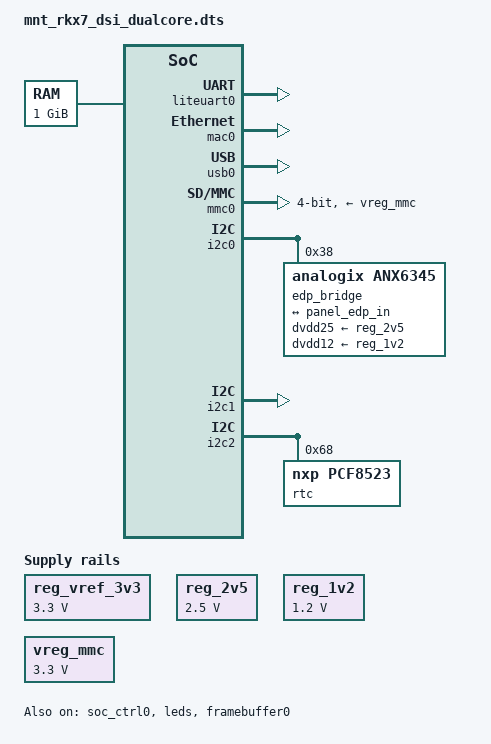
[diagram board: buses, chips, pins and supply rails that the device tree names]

/dts-v1/;

/ {

	#address-cells = <1>;
	#size-cells		 = <1>;

	reg_vref_3v3: regulator-vref-3v3 {
		compatible = "regulator-fixed";
		regulator-name = "vref-3v3";
		regulator-min-microvolt = <3300000>;
		regulator-max-microvolt = <3300000>;
		regulator-always-on;
		status = "okay";
	};

	reg_2v5: regulator-2v5 {
		compatible = "regulator-fixed";
		regulator-name = "reg-2v5";
		regulator-min-microvolt = <2500000>;
		regulator-max-microvolt = <2500000>;
		regulator-always-on;
		status = "okay";
	};

	reg_1v2: regulator-1v2 {
		compatible = "regulator-fixed";
		regulator-name = "reg1v2";
		regulator-min-microvolt = <1200000>;
		regulator-max-microvolt = <1200000>;
		regulator-always-on;
		status = "okay";
	};

	panel {
		status = "disabled";
		compatible = "innolux,n125hce-gn1", "edp-panel", "simple-panel";
		power = <&reg_vref_3v3>;
		no-hpd;

		ports {
			#address-cells = <1>;
			#size-cells = <0>;

			port@0 {
				reg = <0>;

				panel_edp_in: endpoint {
					remote-endpoint = <&edp_bridge_out>;
				};
			};
		};
	};

	chosen {
		bootargs = "console=tty0 earlycon=liteuart,0xf0001000 rootwait root=/dev/mmcblk0p2"; // console=liteuart0
		linux,initrd-start = <0x41000000>;
		linux,initrd-end	 = <0x43800000>;
	};

	cpus {
		#address-cells = <1>;
		#size-cells		 = <0>;
		timebase-frequency = <100000000>;

		CPU0: cpu@0 {
			device_type = "cpu";
			compatible = "riscv";
			riscv,isa = "rv32i2p0_ma";
			mmu-type = "riscv,sv32";
			reg = <0>;
			clock-frequency = <100000000>;
			status = "okay";

			d-cache-size = <8192>;
			d-cache-sets = <2>;
			d-cache-block-size = <64>;

			i-cache-size = <8192>;
			i-cache-sets = <2>;
			i-cache-block-size = <64>;


			d-tlb-size = <4>;
			d-tlb-sets = <4>;

			i-tlb-size = <4>;
			i-tlb-sets = <4>;

			L0: interrupt-controller {
				#interrupt-cells = <0x00000001>;
				interrupt-controller;
				compatible = "riscv,cpu-intc";
			};
		};

		CPU1: cpu@1 {
			device_type = "cpu";
			compatible = "riscv";
			riscv,isa = "rv32i2p0_ma";
			mmu-type = "riscv,sv32";
			reg = <1>;
			clock-frequency = <100000000>;
			status = "okay";

			d-cache-size = <8192>;
			d-cache-sets = <2>;
			d-cache-block-size = <64>;

			i-cache-size = <8192>;
			i-cache-sets = <2>;
			i-cache-block-size = <64>;


			d-tlb-size = <4>;
			d-tlb-sets = <4>;

			i-tlb-size = <4>;
			i-tlb-sets = <4>;

			L1: interrupt-controller {
				#interrupt-cells = <0x00000001>;
				interrupt-controller;
				compatible = "riscv,cpu-intc";
			};
		};


		cpu-map {
			cluster0 {
				core0 {
					cpu = <&CPU0>;
				};
				core1 {
					cpu = <&CPU1>;
				};
			};
		};
	};

	memory@40000000 {
		device_type = "memory";
		reg = <0x40000000 0x40000000>;
	};

	reserved-memory {
		#address-cells = <1>;
		#size-cells		 = <1>;
		ranges;

		opensbi@40f00000 {
			reg = <0x40f00000 0x80000>;
		};

		framebuffer@7f000000 {
			reg = <0x7f000000 0x7e9000>;
		};
	};

	clocks {
		sys_clk: litex_sys_clk {
			#clock-cells = <0>;
			compatible = "fixed-clock";
			clock-frequency = <100000000>;
		};
	};

	vreg_mmc: vreg_mmc {
		compatible = "regulator-fixed";
		regulator-name = "vreg_mmc";
		regulator-min-microvolt = <3300000>;
		regulator-max-microvolt = <3300000>;
		regulator-always-on;
	};

	soc {
		#address-cells = <1>;
		#size-cells		 = <1>;
		compatible = "simple-bus";
		interrupt-parent = <&intc0>;
		ranges;

		soc_ctrl0: soc_controller@f0000800 {
			compatible = "litex,soc-controller";
			reg = <0xf0000800 0xc>;
			status = "okay";
		};

		intc0: interrupt-controller@f0c00000 {
			compatible = "sifive,fu540-c000-plic", "sifive,plic-1.0.0";
			reg = <0xf0c00000 0x400000>;
			#address-cells = <0>;
			#interrupt-cells = <1>;
			interrupt-controller;
			interrupts-extended = <
			&L0 11 &L0 9
			&L1 11 &L1 9>;
			riscv,ndev = <32>;
		};

		liteuart0: serial@f0001000 {
			compatible = "litex,liteuart";
			reg = <0xf0001000 0x100>;
			interrupts = <0>;
			status = "okay";
		};

		mac0: mac@f0002800 {
			compatible = "litex,liteeth";
			reg = <0xf0002800 0x7c>,
			<0xf0003000 0x0a>,
			<0x80000000 0x2000>;
			reg-names = "mac", "mdio", "buffer";
			litex,rx-slots = <2>;
			litex,tx-slots = <2>;
			litex,slot-size = <2048>;
			interrupts = <2>;
			status = "okay";
		};

		usb0: mac@c0000000 {
			compatible = "generic-ohci";
			reg = <0xc0000000 0x1000>;
			interrupts = <16>;
			status = "okay";
		};

		mmc0: mmc@f0007800 {
			compatible = "litex,mmc";
			reg = <0xf0007800 0x100>,
			<0xf0006000 0x100>,
			<0xf0005800 0x100>,
			<0xf0007000 0x100>,
			<0xf0006800 0x100>;
			reg-names = "phy", "core", "reader", "writer", "irq";
			clocks = <&sys_clk>;
			vmmc-supply = <&vreg_mmc>;
			bus-width = <0x04>;
			interrupts = <3>;
			status = "okay";
		};

		leds: gpio@f0000000 {
			compatible = "litex,gpio";
			reg = <0xf0000000 0x4>;
			gpio-controller;
			#gpio-cells = <2>;
			litex,direction = "out";
			status = "okay";
		};

		i2c0: i2c@f0003800 {
			compatible = "litex,i2c";
			reg = <0xf0003800 0x5>;
			#address-cells = <1>;
			#size-cells = <0>;
			status = "okay";

			hdmi: sii9022a@39 {
				compatible = "sil,sii9022a";
				reg = <0x39>;

				status = "disabled";
			};

			edp_bridge: anx9807@38 {
				/* analogix,anx9807 */
				compatible = "analogix,anx6345";
				reg = <0x38>;
				dvdd25-supply = <&reg_2v5>;
				dvdd12-supply = <&reg_1v2>;
				status = "okay";

				edp_bridge_ports: ports {
					#address-cells = <1>;
					#size-cells = <0>;

					port@1 {
						reg = <1>;
						edp_bridge_out: endpoint {
							remote-endpoint = <&panel_edp_in>;
						};
					};
				};
			};
		};

		i2c1: i2c@f0004000 {
			compatible = "litex,i2c";
			reg = <0xf0004000 0x5>;
			#address-cells = <1>;
			#size-cells = <0>;
			status = "okay";
		};

		i2c2: i2c@f0004800 {
			compatible = "litex,i2c";
			reg = <0xf0004800 0x5>;
			#address-cells = <1>;
			#size-cells = <0>;
			status = "okay";

			rtc@68 {
				compatible = "nxp,pcf8523";
				status = "okay";
				reg = <0x68>;
			};
		};

		framebuffer0: framebuffer@7f000000 {
			compatible = "simple-framebuffer";
			reg = <0x7f000000 0x7e9000>;
			width = <1920>;
			height = <1080>;
			stride = <7680>;
			format = "x8r8g8b8";

			status = "okay";
		};

	};

	aliases {

		serial0 = &liteuart0;

	};

};

&leds {
	litex,ngpio = <4>;
	status = "okay";
};
